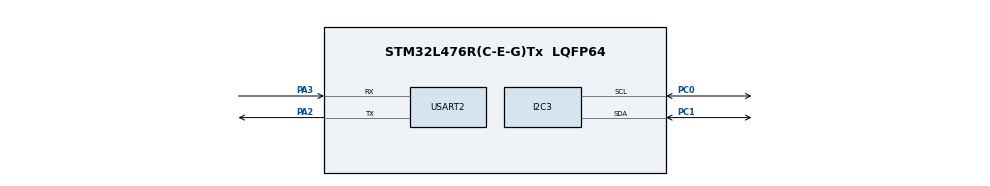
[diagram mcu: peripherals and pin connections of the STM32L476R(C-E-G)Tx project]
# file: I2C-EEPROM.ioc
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I2C3.Timing=0x00100D14
Mcu.Family=STM32L4
Mcu.Name=STM32L476R(C-E-G)Tx
Mcu.Package=LQFP64
NVIC.PriorityGroup=NVIC_PRIORITYGROUP_4
PA2.Mode=Asynchronous
PA2.Signal=USART2_TX
PA3.Mode=Asynchronous
PA3.Signal=USART2_RX
PC0.Mode=I2C
PC0.Signal=I2C3_SCL
PC1.Mode=I2C
PC1.Signal=I2C3_SDA
ProjectManager.HeapSize=0x200
ProjectManager.StackSize=0x400
ProjectManager.TargetToolchain=STM32CubeIDE
RCC.HSE_VALUE=8000000
RCC.HSI_VALUE=16000000
RCC.LSE_VALUE=32768
RCC.MSI_VALUE=4000000
RCC.VCOOutputFreq_Value=32000000
USART2.VirtualMode-Asynchronous=VM_ASYNC
board=custom

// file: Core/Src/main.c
/* USER CODE BEGIN Header */
/**
  ******************************************************************************
  * @file           : main.c
  * @brief          : Main program body
  ******************************************************************************
  * @attention
  *
  * Copyright (c) 2024 STMicroelectronics.
  * All rights reserved.
  *
  * This software is licensed under terms that can be found in the LICENSE file
  * in the root directory of this software component.
  * If no LICENSE file comes with this software, it is provided AS-IS.
  *
  ******************************************************************************
  */
/* USER CODE END Header */
#include "main.h"

/* USER CODE BEGIN Includes */
#include <stdio.h>
#include <stdlib.h>
#include <string.h>
#include <memory.h>
#include "24AA01.h"
/* USER CODE END Includes */

I2C_HandleTypeDef hi2c3;

UART_HandleTypeDef huart2;

void SystemClock_Config(void);
static void MX_GPIO_Init(void);
static void MX_USART2_UART_Init(void);
static void MX_I2C3_Init(void);

/* USER CODE BEGIN 0 */
int __io_putchar(int ch)
{
	if(ch == '\n')
	{
		const char val = '\r';
		HAL_UART_Transmit(&huart2, (const uint8_t *)&val, 1, 1000);
	}

	HAL_UART_Transmit(&huart2, (const uint8_t *)&ch, 1, 1000);

	return 0;
}

void WriteSampleDataToEEprom()
{
  const char *data = "essa boy to jest wymiatacz\0";
  const size_t size = strlen(data);

  HAL_StatusTypeDef status = WriteDataToEEPROM(&hi2c3, 0x0, (uint8_t*)data, (uint8_t)size);
  if(status != HAL_OK)
  {
  	printf("Cannot write data to eeprom: %d\n", status);
  	abort();
  }

  printf("Successfuly write data to epprom: %s\n", data);
}

void ReadSampleDataFromEEprom()
{
  uint8_t data[26];
  const uint8_t size = sizeof(data) / sizeof(data[0]);
  HAL_StatusTypeDef status = ReadDataFromEEPROM(&hi2c3, 0x0, data, size);
  if(status != HAL_OK)
  {
  	printf("Cannot read data from eeprom: %d\n", status);
  	abort();
  }

  printf("Successfuly read data from epprom: %s\n", data);
}
/* USER CODE END 0 */

int main(void)
{

  /* MCU Configuration--------------------------------------------------------*/

  /* Reset of all peripherals, Initializes the Flash interface and the Systick. */
  HAL_Init();

  /* Configure the system clock */
  SystemClock_Config();

  /* Initialize all configured peripherals */
  MX_GPIO_Init();
  MX_USART2_UART_Init();
  MX_I2C3_Init();
  /* USER CODE BEGIN 2 */
  //WriteSampleDataToEEprom();
  //HAL_Delay(10);
  ReadSampleDataFromEEprom();
  /* USER CODE END 2 */

  /* Infinite loop */
  while (1)
  {

  }
}

void SystemClock_Config(void)
{
  RCC_OscInitTypeDef RCC_OscInitStruct = {0};
  RCC_ClkInitTypeDef RCC_ClkInitStruct = {0};

  /** Configure the main internal regulator output voltage
  */
  if (HAL_PWREx_ControlVoltageScaling(PWR_REGULATOR_VOLTAGE_SCALE1) != HAL_OK)
  {
    Error_Handler();
  }

  /** Initializes the RCC Oscillators according to the specified parameters
  * in the RCC_OscInitTypeDef structure.
  */
  RCC_OscInitStruct.OscillatorType = RCC_OSCILLATORTYPE_MSI;
  RCC_OscInitStruct.MSIState = RCC_MSI_ON;
  RCC_OscInitStruct.MSICalibrationValue = 0;
  RCC_OscInitStruct.MSIClockRange = RCC_MSIRANGE_6;
  RCC_OscInitStruct.PLL.PLLState = RCC_PLL_NONE;
  if (HAL_RCC_OscConfig(&RCC_OscInitStruct) != HAL_OK)
  {
    Error_Handler();
  }

  /** Initializes the CPU, AHB and APB buses clocks
  */
  RCC_ClkInitStruct.ClockType = RCC_CLOCKTYPE_HCLK|RCC_CLOCKTYPE_SYSCLK
                              |RCC_CLOCKTYPE_PCLK1|RCC_CLOCKTYPE_PCLK2;
  RCC_ClkInitStruct.SYSCLKSource = RCC_SYSCLKSOURCE_MSI;
  RCC_ClkInitStruct.AHBCLKDivider = RCC_SYSCLK_DIV1;
  RCC_ClkInitStruct.APB1CLKDivider = RCC_HCLK_DIV1;
  RCC_ClkInitStruct.APB2CLKDivider = RCC_HCLK_DIV1;

  if (HAL_RCC_ClockConfig(&RCC_ClkInitStruct, FLASH_LATENCY_0) != HAL_OK)
  {
    Error_Handler();
  }
}

static void MX_I2C3_Init(void)
{

  hi2c3.Instance = I2C3;
  hi2c3.Init.Timing = 0x00100D14;
  hi2c3.Init.OwnAddress1 = 0;
  hi2c3.Init.AddressingMode = I2C_ADDRESSINGMODE_7BIT;
  hi2c3.Init.DualAddressMode = I2C_DUALADDRESS_DISABLE;
  hi2c3.Init.OwnAddress2 = 0;
  hi2c3.Init.OwnAddress2Masks = I2C_OA2_NOMASK;
  hi2c3.Init.GeneralCallMode = I2C_GENERALCALL_DISABLE;
  hi2c3.Init.NoStretchMode = I2C_NOSTRETCH_DISABLE;
  if (HAL_I2C_Init(&hi2c3) != HAL_OK)
  {
    Error_Handler();
  }

  /** Configure Analogue filter
  */
  if (HAL_I2CEx_ConfigAnalogFilter(&hi2c3, I2C_ANALOGFILTER_ENABLE) != HAL_OK)
  {
    Error_Handler();
  }

  /** Configure Digital filter
  */
  if (HAL_I2CEx_ConfigDigitalFilter(&hi2c3, 0) != HAL_OK)
  {
    Error_Handler();
  }

}

static void MX_USART2_UART_Init(void)
{

  huart2.Instance = USART2;
  huart2.Init.BaudRate = 115200;
  huart2.Init.WordLength = UART_WORDLENGTH_8B;
  huart2.Init.StopBits = UART_STOPBITS_1;
  huart2.Init.Parity = UART_PARITY_NONE;
  huart2.Init.Mode = UART_MODE_TX_RX;
  huart2.Init.HwFlowCtl = UART_HWCONTROL_NONE;
  huart2.Init.OverSampling = UART_OVERSAMPLING_16;
  huart2.Init.OneBitSampling = UART_ONE_BIT_SAMPLE_DISABLE;
  huart2.AdvancedInit.AdvFeatureInit = UART_ADVFEATURE_NO_INIT;
  if (HAL_UART_Init(&huart2) != HAL_OK)
  {
    Error_Handler();
  }

}

static void MX_GPIO_Init(void)
{

  /* GPIO Ports Clock Enable */
  __HAL_RCC_GPIOC_CLK_ENABLE();
  __HAL_RCC_GPIOA_CLK_ENABLE();

}

void Error_Handler(void)
{
  __disable_irq();
  while (1)
  {
  }
}
